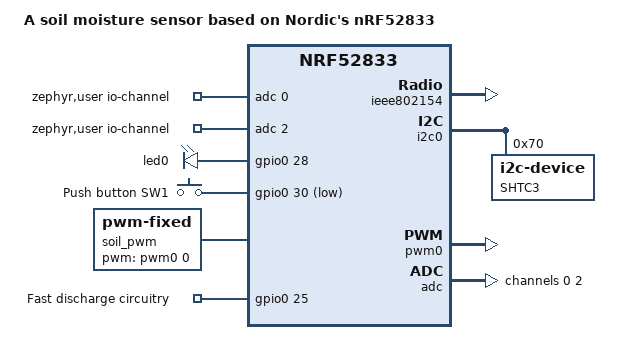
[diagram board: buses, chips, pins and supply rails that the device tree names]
/dts-v1/;
#include <nordic/nrf52833_qiaa.dtsi>
#include "bparasite_nrf52833-pinctrl.dtsi"

/ {
	model = "A soil moisture sensor based on Nordic's nRF52833";
	compatible = "rbaron,bparasite_nrf52833";

	chosen {
		zephyr,sram = &sram0;
		zephyr,flash = &flash0;
		zephyr,code-partition = &slot0_partition;
		zephyr,ieee802154 = &ieee802154;
	};

	zephyr,user {
		io-channels = <&adc 0>, <&adc 2>;
	};

	leds {
		compatible = "gpio-leds";
		led0: led_0 {
			// P0.28.
			gpios = <&gpio0 28 GPIO_ACTIVE_HIGH>;
		};
	};

	buttons {
		compatible = "gpio-keys";
		button0: button_0 {
			// P0.30.
			gpios = <&gpio0 30 (GPIO_PULL_UP | GPIO_ACTIVE_LOW)>;
			label = "Push button SW1";
		};
	};

	soil_pwm: soil_pwm {
		compatible = "pwm-fixed";
		pwms = <&pwm0 0 PWM_USEC(2) PWM_POLARITY_NORMAL>;
		pulse = <PWM_USEC(1)>;
	};

	soil_calibration_coeffs: soil_calibration_coeffs {
		compatible = "soil-calibration-coeffs";
		dry = <306000 101000 (-11700)>;
		wet = <19000 (-4980) 3420>;
	};

	ctrl {
		compatible = "gpio-keys";
		fast_disch: fast_disch {
			// P0.25.
			gpios = <&gpio0 25 GPIO_ACTIVE_HIGH>;
			label = "Fast discharge circuitry";
		};
	};
};

&uicr {
	gpio-as-nreset;
};

&gpiote {
	status = "okay";
};

&gpio0 {
	status = "okay";
	// For low-power EDGE interrupts.
	// See github.com/zephyrproject-rtos/zephyr/issues/28499.
	sense-edge-mask = <0xffffffff>;
};

&gpio1 {
	status = "okay";
};

&ieee802154 {
	status = "okay";
};

&uart0 {
	compatible = "nordic,nrf-uart";
	status = "disabled";
	current-speed = <115200>;
	pinctrl-0 = <&uart0_default>;
	pinctrl-1 = <&uart0_sleep>;
	pinctrl-names = "default", "sleep";
};

&i2c0 {
	compatible = "nordic,nrf-twi";
	status = "okay";
	pinctrl-0 = <&i2c0_default>;
	pinctrl-1 = <&i2c0_sleep>;
	pinctrl-names = "default", "sleep";

	shtc3: shtc3@70 {
		compatible = "i2c-device";
		reg = <0x70>;
		label = "SHTC3";
	};
};

&pwm0 {
	status = "okay";
	pinctrl-0 = <&pwm0_default>;
	pinctrl-1 = <&pwm0_sleep>;
	pinctrl-names = "default", "sleep";
};

&adc {
	#address-cells = <1>;
	#size-cells = <0>;
	status = "ok";

	// Soil.
	channel@0 {
		reg = <0>;
		zephyr,gain = "ADC_GAIN_1_6";
		zephyr,reference = "ADC_REF_VDD_1_4";
		zephyr,acquisition-time = <ADC_ACQ_TIME_DEFAULT>;
		// P0.03.
		zephyr,input-positive = <NRF_SAADC_AIN1>;
		zephyr,resolution = <10>;

	};

	// Battery.
	channel@2 {
		reg = <2>;
		zephyr,gain = "ADC_GAIN_1_6";
		zephyr,reference = "ADC_REF_INTERNAL";
		zephyr,acquisition-time = <ADC_ACQ_TIME_DEFAULT>;
		zephyr,input-positive = <NRF_SAADC_VDD>;
		zephyr,resolution = <10>;
	};
};


&flash0 {
	partitions {
		compatible = "fixed-partitions";
		#address-cells = <1>;
		#size-cells = <1>;

		boot_partition: partition@0 {
			label = "mcuboot";
			reg = <0x000000000 0xC000>;
		};
		slot0_partition: partition@c000 {
			label = "image-0";
			reg = <0x0000C000 0x32000>;
		};
		slot1_partition: partition@3e000 {
			label = "image-1";
			reg = <0x0003E000 0x32000>;
		};
		scratch_partition: partition@70000 {
			label = "image-scratch";
			reg = <0x00070000 0xA000>;
		};
		storage_partition: partition@7a000 {
			label = "storage";
			reg = <0x0007A000 0x00006000>;
		};
	};
};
